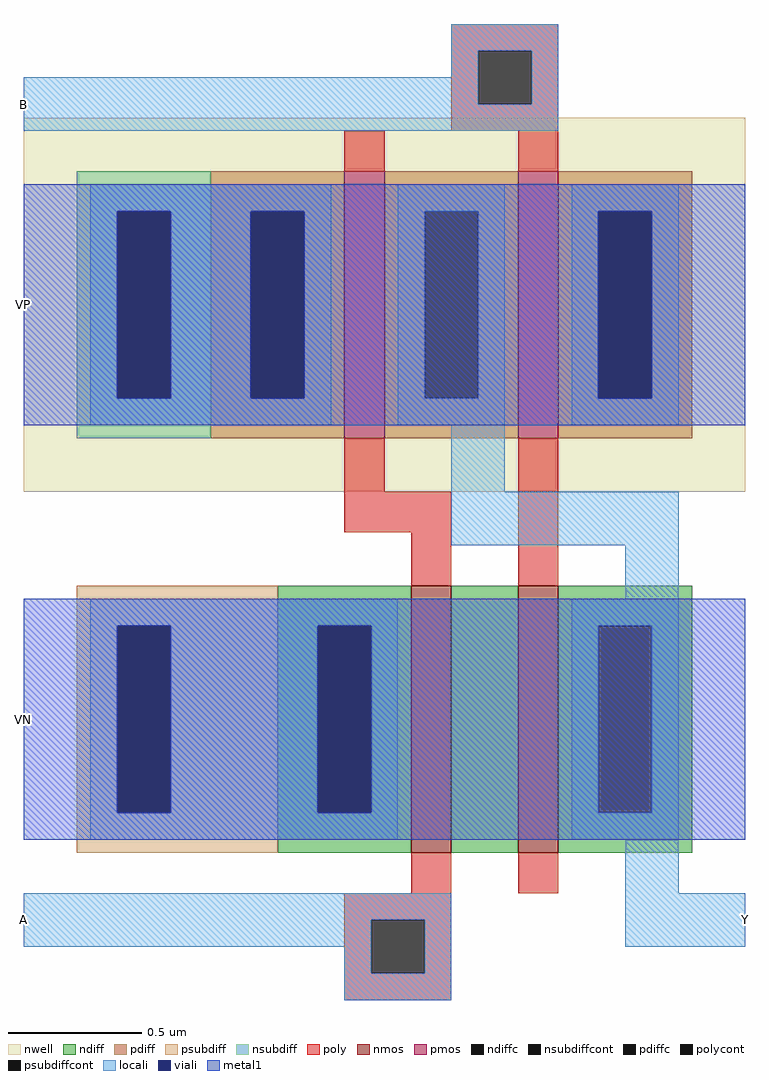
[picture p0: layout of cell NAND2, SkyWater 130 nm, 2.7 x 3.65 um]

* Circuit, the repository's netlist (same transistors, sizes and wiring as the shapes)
* SPICE3 file created from /home/madvlsi/MADVLSI/mini1/layout/NAND2.ext - technology: sky130A

.subckt home/madvlsi/MADVLSI/mini1/layout/NAND2 A B Y VP VN
X0 a_30_0# A VN VN sky130_fd_pr__nfet_01v8 ad=2.5e+11p pd=2.5e+06u as=5e+11p ps=3e+06u w=1e+06u l=150000u
X1 VP B Y VP sky130_fd_pr__pfet_01v8 ad=1e+12p pd=6e+06u as=5e+11p ps=3e+06u w=1e+06u l=150000u
X2 Y A VP VP sky130_fd_pr__pfet_01v8 ad=0p pd=0u as=0p ps=0u w=1e+06u l=150000u
X3 Y B a_30_0# VN sky130_fd_pr__nfet_01v8 ad=5e+11p pd=3e+06u as=0p ps=0u w=1e+06u l=150000u
.ends

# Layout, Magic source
magic
tech sky130A
<< nwell >>
rect -145 135 125 275
<< nmos >>
rect 0 0 15 100
rect 40 0 55 100
<< pmos >>
rect -25 155 -10 255
rect 40 155 55 255
<< ndiff >>
rect -50 85 0 100
rect -50 15 -35 85
rect -15 15 0 85
rect -50 0 0 15
rect 15 0 40 100
rect 55 85 105 100
rect 55 15 70 85
rect 90 15 105 85
rect 55 0 105 15
<< pdiff >>
rect -75 240 -25 255
rect -75 170 -60 240
rect -40 170 -25 240
rect -75 155 -25 170
rect -10 240 40 255
rect -10 170 5 240
rect 25 170 40 240
rect -10 155 40 170
rect 55 240 105 255
rect 55 170 70 240
rect 90 170 105 240
rect 55 155 105 170
<< ndiffc >>
rect -35 15 -15 85
rect 70 15 90 85
<< pdiffc >>
rect -60 170 -40 240
rect 5 170 25 240
rect 70 170 90 240
<< psubdiff >>
rect -125 85 -50 100
rect -125 15 -110 85
rect -90 15 -50 85
rect -125 0 -50 15
<< nsubdiff >>
rect -125 240 -75 255
rect -125 170 -110 240
rect -90 170 -75 240
rect -125 155 -75 170
<< psubdiffcont >>
rect -110 15 -90 85
<< nsubdiffcont >>
rect -110 170 -90 240
<< poly >>
rect 15 300 55 310
rect 15 280 25 300
rect 45 280 55 300
rect 15 270 55 280
rect -25 255 -10 270
rect 40 255 55 270
rect -25 135 -10 155
rect -25 120 15 135
rect 0 100 15 120
rect 40 100 55 155
rect 0 -15 15 0
rect 40 -15 55 0
rect -25 -25 15 -15
rect -25 -45 -15 -25
rect 5 -45 15 -25
rect -25 -55 15 -45
<< polycont >>
rect 25 280 45 300
rect -15 -45 5 -25
<< locali >>
rect 15 300 55 310
rect 15 290 25 300
rect -145 280 25 290
rect 45 280 55 300
rect -145 270 55 280
rect -120 240 -30 250
rect -120 170 -110 240
rect -90 170 -60 240
rect -40 170 -30 240
rect -120 160 -30 170
rect -5 240 35 250
rect -5 170 5 240
rect 25 170 35 240
rect -5 160 35 170
rect 60 240 100 250
rect 60 170 70 240
rect 90 170 100 240
rect 60 160 100 170
rect 15 135 35 160
rect 15 115 100 135
rect 80 95 100 115
rect -120 85 -5 95
rect -120 15 -110 85
rect -90 15 -35 85
rect -15 15 -5 85
rect -120 5 -5 15
rect 60 85 100 95
rect 60 15 70 85
rect 90 15 100 85
rect 60 5 100 15
rect 80 -15 100 5
rect -145 -25 15 -15
rect -145 -35 -15 -25
rect -25 -45 -15 -35
rect 5 -45 15 -25
rect 80 -35 125 -15
rect -25 -55 15 -45
<< viali >>
rect -110 170 -90 240
rect -60 170 -40 240
rect 70 170 90 240
rect -110 15 -90 85
rect -35 15 -15 85
<< metal1 >>
rect -145 240 125 250
rect -145 170 -110 240
rect -90 170 -60 240
rect -40 170 70 240
rect 90 170 125 240
rect -145 160 125 170
rect -145 85 125 95
rect -145 15 -110 85
rect -90 15 -35 85
rect -15 15 125 85
rect -145 5 125 15
<< labels >>
rlabel locali -145 -25 -145 -25 7 A
port 1 w
rlabel locali 125 -25 125 -25 3 Y
port 3 e
rlabel metal1 -145 205 -145 205 7 VP
port 4 w
rlabel locali -145 280 -145 280 7 B
port 2 w
rlabel metal1 -145 50 -145 50 7 VN
port 5 w
<< end >>
